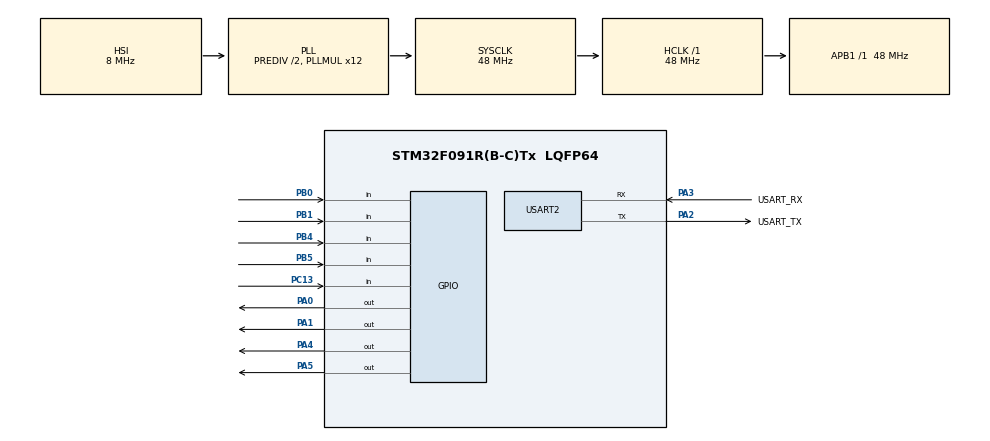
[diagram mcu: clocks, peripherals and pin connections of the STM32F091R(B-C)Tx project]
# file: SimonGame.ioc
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Mcu.Family=STM32F0
Mcu.Name=STM32F091R(B-C)Tx
Mcu.Package=LQFP64
PA0.Signal=GPIO_Output
PA1.Signal=GPIO_Output
PA13.GPIO_Label=TMS
PA13.Mode=Serial_Wire
PA13.Signal=SYS_SWDIO
PA14.GPIO_Label=TCK
PA14.Mode=Serial_Wire
PA14.Signal=SYS_SWCLK
PA2.GPIO_Label=USART_TX
PA2.GPIO_Mode=GPIO_MODE_AF_PP
PA2.GPIO_PuPd=GPIO_NOPULL
PA2.GPIO_Speed=GPIO_SPEED_FREQ_LOW
PA2.Mode=Asynchronous
PA2.Signal=USART2_TX
PA3.GPIO_Label=USART_RX
PA3.GPIO_Mode=GPIO_MODE_AF_PP
PA3.GPIO_PuPd=GPIO_NOPULL
PA3.GPIO_Speed=GPIO_SPEED_FREQ_LOW
PA3.Mode=Asynchronous
PA3.Signal=USART2_RX
PA4.Signal=GPIO_Output
PA5.Signal=GPIO_Output
PB0.GPIO_PuPd=GPIO_PULLUP
PB0.Signal=GPIO_Input
PB1.GPIO_PuPd=GPIO_PULLUP
PB1.Signal=GPIO_Input
PB4.GPIO_PuPd=GPIO_PULLUP
PB4.Signal=GPIO_Input
PB5.GPIO_PuPd=GPIO_PULLUP
PB5.Signal=GPIO_Input
PC13.GPIO_PuPd=GPIO_PULLUP
PC13.Signal=GPIO_Input
PC14OSC32_IN.Mode=LSE-External-Oscillator
PC14OSC32_IN.Signal=RCC_OSC32_IN
PC15OSC32_OUT.Mode=LSE-External-Oscillator
PC15OSC32_OUT.Signal=RCC_OSC32_OUT
PF0-OSC_IN.Mode=HSE-External-Clock-Source
PF0-OSC_IN.Signal=RCC_OSC_IN
PF1-OSC_OUT.Signal=RCC_OSC_OUT
ProjectManager.HeapSize=0x200
ProjectManager.StackSize=0x400
ProjectManager.TargetToolchain=STM32CubeIDE
RCC.AHBFreq_Value=48000000
RCC.APB1Freq_Value=48000000
RCC.APB1TimFreq_Value=48000000
RCC.FLatency-AdvancedSettings=FLASH_LATENCY_1
RCC.HCLKFreq_Value=48000000
RCC.PLLDivider=RCC_PREDIV_DIV2
RCC.PLLMUL=RCC_PLL_MUL12
RCC.PREFETCH_ENABLE-AdvancedSettings=1
RCC.SYSCLKFreq_VALUE=48000000
RCC.SYSCLKSource=RCC_SYSCLKSOURCE_PLLCLK
USART2.VirtualMode=VM_ASYNC
USART2.VirtualMode-Asynchronous=VM_ASYNC
board=NUCLEO-F091RC

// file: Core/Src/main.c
/* USER CODE BEGIN Header */
/* USER CODE END Header */
#include "main.h"
#include <string.h>
#include <stdlib.h>
#include <stdbool.h>

UART_HandleTypeDef huart2;

/* USER CODE BEGIN PV */

// LED pins on PA0, PA1, PA4, PA5
uint16_t LED_PINS[4] = {GPIO_PIN_0, GPIO_PIN_1, GPIO_PIN_4, GPIO_PIN_5};
GPIO_TypeDef* LED_PORT = GPIOA;

// Button pins on PB0, PB1, PB4, PB5 (pull-up, active low)
uint16_t BTN_PINS[4] = {GPIO_PIN_0, GPIO_PIN_1, GPIO_PIN_4, GPIO_PIN_5};
GPIO_TypeDef* BTN_PORT = GPIOB;

#define START_BTN_PIN   GPIO_PIN_13
#define START_BTN_PORT  GPIOC

int turn = 0;
int randomArray[100];
int inputArray[100];
int highScore = 0;

/* USER CODE END PV */

void SystemClock_Config(void);
static void MX_GPIO_Init(void);
static void MX_USART2_UART_Init(void);

/* USER CODE BEGIN PFP */
void play_turn_flash(void);
void show_sequence(void);
void read_player_input(void);
void fail_sequence(void);
void print_round_summary(int len);
void print_failure_details(int wrongPos);
void print_game_over(void);
void print_success_message(int roundNum);
/* USER CODE END PFP */

int main(void)
{

  HAL_Init();
  SystemClock_Config();
  MX_GPIO_Init();
  MX_USART2_UART_Init();

  /* USER CODE BEGIN 2 */

  char msg[64];

  // Start message
  sprintf(msg, "\r\nPress USER button (PC13) to start Simon Says...\r\n");
  HAL_UART_Transmit(&huart2, (uint8_t*)msg, strlen(msg), HAL_MAX_DELAY);

  // Wait for press (active low)
  while (HAL_GPIO_ReadPin(START_BTN_PORT, START_BTN_PIN) == GPIO_PIN_SET);

  HAL_Delay(300);

  // Random seed
  srand(HAL_GetTick());

  /* USER CODE END 2 */

  while (1)
  {
    /* USER CODE BEGIN WHILE */

    play_turn_flash();

    sprintf(msg, "\r\nRound %d\r", (turn+1)); //
    HAL_UART_Transmit(&huart2, (uint8_t*)msg, strlen(msg), HAL_MAX_DELAY);
    sprintf(msg, "\r\nRound Length: %d\r\n", (turn+1));
    HAL_UART_Transmit(&huart2, (uint8_t*)msg, strlen(msg), HAL_MAX_DELAY);

    randomArray[turn] = (rand() % 4) + 1;   // 1–4

    show_sequence();
    read_player_input();

    HAL_Delay(500);
    turn++;

    /* USER CODE END WHILE */

  }
}

/* ================================
      GAME SUPPORT FUNCTIONS
   ================================ */

void play_turn_flash(void)
{
    for (int i = 0; i < 4; i++)
        HAL_GPIO_WritePin(LED_PORT, LED_PINS[i], GPIO_PIN_SET);
    HAL_Delay(600);

    for (int i = 0; i < 4; i++)
        HAL_GPIO_WritePin(LED_PORT, LED_PINS[i], GPIO_PIN_RESET);
    HAL_Delay(600);
}

void show_sequence(void)
{
    char msg[16];

    for (int i = 0; i <= turn; i++)
    {
    	//Debug code to see display what color was displayed
        //sprintf(msg, "%d ", randomArray[i]);
        //HAL_UART_Transmit(&huart2, (uint8_t*)msg, strlen(msg), HAL_MAX_DELAY);

        int color = randomArray[i] - 1;

        HAL_GPIO_WritePin(LED_PORT, LED_PINS[color], GPIO_PIN_SET);
        HAL_Delay(400);
        HAL_GPIO_WritePin(LED_PORT, LED_PINS[color], GPIO_PIN_RESET);
        HAL_Delay(100);
    }
}

char color_letter(int n)
{
    switch(n)
    {
        case 1: return 'G';  // Green
        case 2: return 'R';  // Red
        case 3: return 'B';  // Blue
        case 4: return 'Y';  // Yellow
    }
    return '?';
}

void read_player_input(void)
{
    char msg[8];

    for (int i = 0; i <= turn; )
    {
        for (int b = 0; b < 4; b++)
        {
            if (HAL_GPIO_ReadPin(BTN_PORT, BTN_PINS[b]) == GPIO_PIN_RESET)
            {
                HAL_GPIO_WritePin(LED_PORT, LED_PINS[b], GPIO_PIN_SET);
                HAL_Delay(200);
                HAL_GPIO_WritePin(LED_PORT, LED_PINS[b], GPIO_PIN_RESET);

                inputArray[i] = b + 1;

                char c = color_letter(inputArray[i]);
                HAL_UART_Transmit(&huart2, (uint8_t*)&c, 1, HAL_MAX_DELAY);
                HAL_UART_Transmit(&huart2, (uint8_t*)" ", 1, HAL_MAX_DELAY);

                if (inputArray[i] != randomArray[i])
                {
                    print_failure_details(i);
                    fail_sequence();
                    print_game_over();
                    memset(randomArray, 0, sizeof(randomArray));
                    memset(inputArray, 0, sizeof(inputArray));
                    return;
                }
                i++;
                HAL_Delay(250);
            }
        }
    }
    print_success_message(turn + 1);
    print_round_summary(turn + 1);
}

void fail_sequence(void)
{
    for (int r = 0; r < 3; r++)
    {
        for (int i = 0; i < 4; i++)
            HAL_GPIO_WritePin(LED_PORT, LED_PINS[i], GPIO_PIN_SET);

        HAL_Delay(250);

        for (int i = 0; i < 4; i++)
            HAL_GPIO_WritePin(LED_PORT, LED_PINS[i], GPIO_PIN_RESET);

        HAL_Delay(250);
    }

    HAL_Delay(600);
}

void print_round_summary(int len)
{
    char msg[128];

    // Expected sequence
    sprintf(msg, "\r\nExpected (len=%d): ", len);
    HAL_UART_Transmit(&huart2, (uint8_t*)msg, strlen(msg), HAL_MAX_DELAY);

    for(int i=0; i<len; i++)
    {
        char c = color_letter(randomArray[i]);
        HAL_UART_Transmit(&huart2, (uint8_t*)&c, 1, HAL_MAX_DELAY);
        HAL_UART_Transmit(&huart2, (uint8_t*)" ", 1, HAL_MAX_DELAY);
    }

    // Player input sequence
    sprintf(msg, "\r\nYour input (len=%d): ", len);
    HAL_UART_Transmit(&huart2, (uint8_t*)msg, strlen(msg), HAL_MAX_DELAY);

    for(int i=0; i<len; i++)
    {
        char c = color_letter(inputArray[i]);
        HAL_UART_Transmit(&huart2, (uint8_t*)&c, 1, HAL_MAX_DELAY);
        HAL_UART_Transmit(&huart2, (uint8_t*)" ", 1, HAL_MAX_DELAY);
    }

    HAL_UART_Transmit(&huart2, (uint8_t*)"\r\n", 2, HAL_MAX_DELAY);
}

void print_failure_details(int wrongPos)
{
    char msg[128];

    int expected = randomArray[wrongPos];
    int got = inputArray[wrongPos];

    sprintf(msg,
            "\r\nFailure at pos %d (expected %c, got %c)\r\n",
            wrongPos + 1,
            color_letter(expected),
            color_letter(got));
    HAL_UART_Transmit(&huart2, (uint8_t*)msg, strlen(msg), HAL_MAX_DELAY);

    // Expected sequence
    sprintf(msg, "Expected: ");
    HAL_UART_Transmit(&huart2, (uint8_t*)msg, strlen(msg), HAL_MAX_DELAY);
    for (int i = 0; i <= turn; i++)
    {
        char c = color_letter(randomArray[i]);
        HAL_UART_Transmit(&huart2, (uint8_t*)&c, 1, HAL_MAX_DELAY);
        HAL_UART_Transmit(&huart2, (uint8_t*)" ", 1, HAL_MAX_DELAY);
    }

    // Player input
    sprintf(msg, "\r\nYour input: ");
    HAL_UART_Transmit(&huart2, (uint8_t*)msg, strlen(msg), HAL_MAX_DELAY);
    for (int i = 0; i <= wrongPos; i++)
    {
        char c = color_letter(inputArray[i]);
        HAL_UART_Transmit(&huart2, (uint8_t*)&c, 1, HAL_MAX_DELAY);
        HAL_UART_Transmit(&huart2, (uint8_t*)" ", 1, HAL_MAX_DELAY);
    }

    sprintf(msg, "\r\nHigh score: %d\r\n", highScore);
    HAL_UART_Transmit(&huart2, (uint8_t*)msg, strlen(msg), HAL_MAX_DELAY);
}

void print_success_message(int roundNum)
{
    char msg[64];
    sprintf(msg, "\r\nRound %d OK. Score: %d\r", roundNum, roundNum);
    HAL_UART_Transmit(&huart2, (uint8_t*)msg, strlen(msg), HAL_MAX_DELAY);
}

void print_game_over(void)
{
    char msg[64];

    // Update high score
    if (turn > highScore)
        highScore = turn;

    sprintf(msg,
        "\r\nGAME OVER. Final score: %d | High score: %d\r\n",
        turn,
        highScore);
    HAL_UART_Transmit(&huart2, (uint8_t*)msg, strlen(msg), HAL_MAX_DELAY);

    sprintf(msg, "Press USER button to restart...\r\n");
    HAL_UART_Transmit(&huart2, (uint8_t*)msg, strlen(msg), HAL_MAX_DELAY);

    // Wait for PC13 press
    while (HAL_GPIO_ReadPin(START_BTN_PORT, START_BTN_PIN) == GPIO_PIN_SET);
    HAL_Delay(300);

    // Reset state
    turn = -1;
}

/* ================================
        SYSTEM INITIALIZATION
   ================================ */

void SystemClock_Config(void)
{
  RCC_OscInitTypeDef RCC_OscInitStruct = {0};
  RCC_ClkInitTypeDef RCC_ClkInitStruct = {0};
  RCC_PeriphCLKInitTypeDef PeriphClkInit = {0};

  RCC_OscInitStruct.OscillatorType = RCC_OSCILLATORTYPE_HSI;
  RCC_OscInitStruct.HSIState = RCC_HSI_ON;
  RCC_OscInitStruct.HSICalibrationValue = RCC_HSICALIBRATION_DEFAULT;
  RCC_OscInitStruct.PLL.PLLState = RCC_PLL_ON;
  RCC_OscInitStruct.PLL.PLLSource = RCC_PLLSOURCE_HSI;
  RCC_OscInitStruct.PLL.PLLMUL = RCC_PLL_MUL12;
  RCC_OscInitStruct.PLL.PREDIV = RCC_PREDIV_DIV2;
  if (HAL_RCC_OscConfig(&RCC_OscInitStruct) != HAL_OK)
    Error_Handler();

  RCC_ClkInitStruct.ClockType = RCC_CLOCKTYPE_HCLK|RCC_CLOCKTYPE_SYSCLK
                              |RCC_CLOCKTYPE_PCLK1;
  RCC_ClkInitStruct.SYSCLKSource = RCC_SYSCLKSOURCE_PLLCLK;
  RCC_ClkInitStruct.AHBCLKDivider = RCC_SYSCLK_DIV1;
  RCC_ClkInitStruct.APB1CLKDivider = RCC_HCLK_DIV1;

  if (HAL_RCC_ClockConfig(&RCC_ClkInitStruct, FLASH_LATENCY_1) != HAL_OK)
    Error_Handler();

  PeriphClkInit.PeriphClockSelection = RCC_PERIPHCLK_USART2;
  PeriphClkInit.Usart2ClockSelection = RCC_USART2CLKSOURCE_PCLK1;
  HAL_RCCEx_PeriphCLKConfig(&PeriphClkInit);
}

static void MX_USART2_UART_Init(void)
{
  huart2.Instance = USART2;
  huart2.Init.BaudRate = 115200;
  huart2.Init.WordLength = UART_WORDLENGTH_8B;
  huart2.Init.StopBits = UART_STOPBITS_1;
  huart2.Init.Parity = UART_PARITY_NONE;
  huart2.Init.Mode = UART_MODE_TX_RX;
  huart2.Init.HwFlowCtl = UART_HWCONTROL_NONE;
  huart2.Init.OverSampling = UART_OVERSAMPLING_16;
  huart2.Init.OneBitSampling = UART_ONE_BIT_SAMPLE_DISABLE;
  huart2.AdvancedInit.AdvFeatureInit = UART_ADVFEATURE_NO_INIT;
  if (HAL_UART_Init(&huart2) != HAL_OK)
    Error_Handler();
}

static void MX_GPIO_Init(void)
{
  GPIO_InitTypeDef GPIO_InitStruct = {0};

  __HAL_RCC_GPIOC_CLK_ENABLE();
  __HAL_RCC_GPIOF_CLK_ENABLE();
  __HAL_RCC_GPIOA_CLK_ENABLE();
  __HAL_RCC_GPIOB_CLK_ENABLE();

  // LED pins PA0 PA1 PA4 PA5
  GPIO_InitStruct.Pin = GPIO_PIN_0|GPIO_PIN_1|GPIO_PIN_4|GPIO_PIN_5;
  GPIO_InitStruct.Mode = GPIO_MODE_OUTPUT_PP;
  GPIO_InitStruct.Pull = GPIO_NOPULL;
  GPIO_InitStruct.Speed = GPIO_SPEED_FREQ_LOW;
  HAL_GPIO_Init(GPIOA, &GPIO_InitStruct);

  // Button pins PB0 PB1 PB4 PB5 (pull-up)
  GPIO_InitStruct.Pin = GPIO_PIN_0|GPIO_PIN_1|GPIO_PIN_4|GPIO_PIN_5;
  GPIO_InitStruct.Mode = GPIO_MODE_INPUT;
  GPIO_InitStruct.Pull = GPIO_PULLUP;
  HAL_GPIO_Init(GPIOB, &GPIO_InitStruct);

  // USER button PC13
  GPIO_InitStruct.Pin = GPIO_PIN_13;
  GPIO_InitStruct.Mode = GPIO_MODE_INPUT;
  GPIO_InitStruct.Pull = GPIO_PULLUP;
  HAL_GPIO_Init(GPIOC, &GPIO_InitStruct);
}

void Error_Handler(void)
{
  __disable_irq();
  while (1) {}
}
